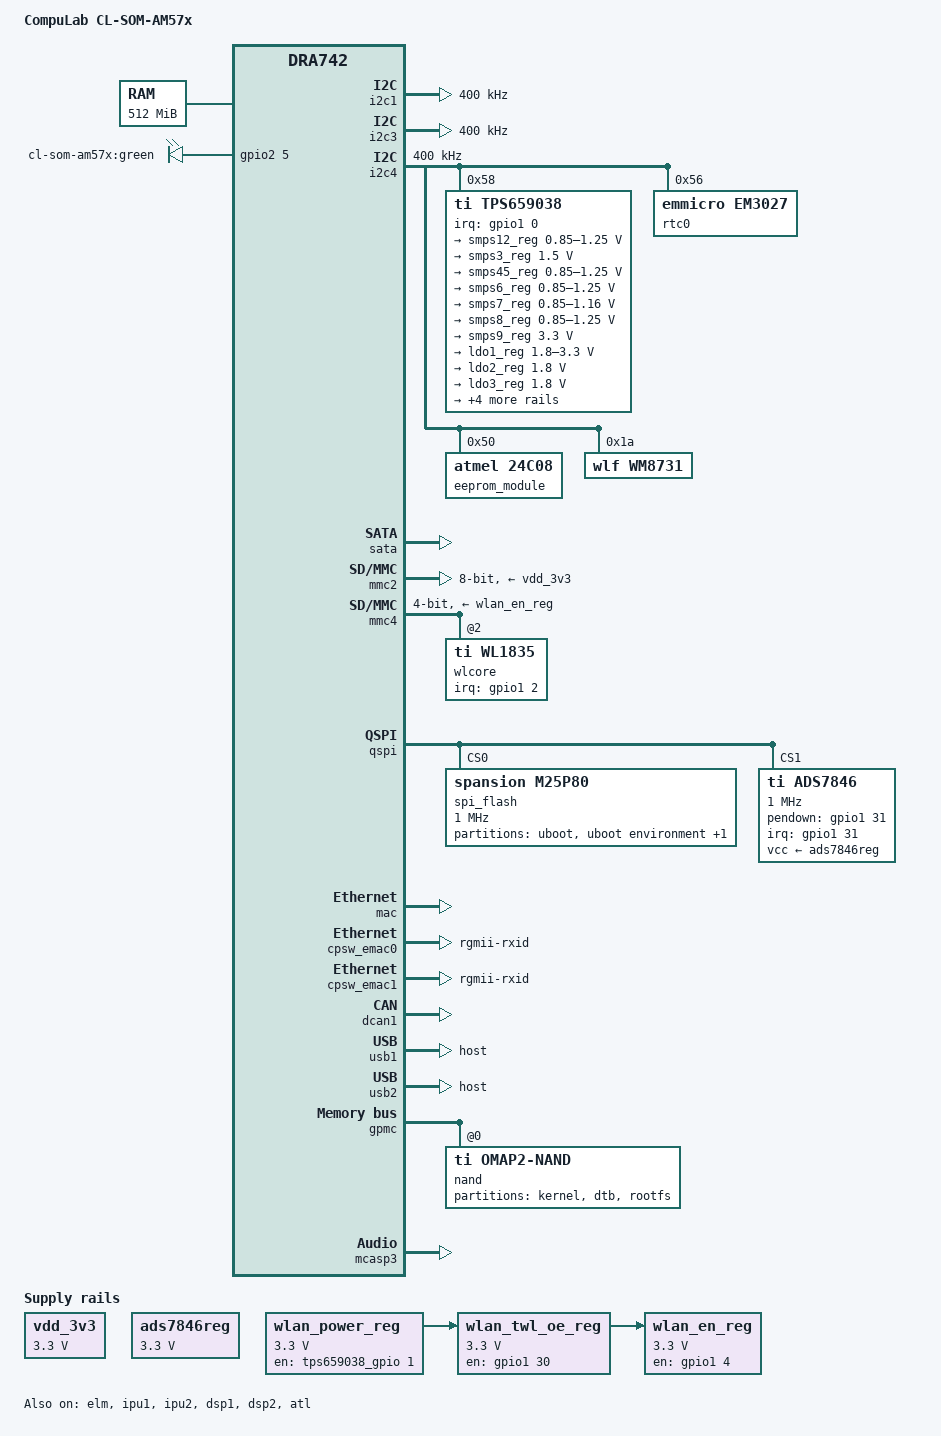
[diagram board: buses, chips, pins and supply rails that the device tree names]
/*
 * Support for CompuLab CL-SOM-AM57x System-on-Module
 *
 * Copyright (C) 2015 CompuLab Ltd. - http://www.compulab.co.il/
 * Author: Dmitry Lifshitz <lifshitz@compulab.co.il>
 *
 * This program is free software; you can redistribute it and/or modify it
 * under the terms of the GNU General Public License version 2 as published by
 * the Free Software Foundation.
 */

/dts-v1/;

#include <dt-bindings/gpio/gpio.h>
#include <dt-bindings/interrupt-controller/irq.h>
#include "dra74x.dtsi"
#include <dt-bindings/clk/ti-dra7-atl.h>

/ {
	model = "CompuLab CL-SOM-AM57x";
	compatible = "compulab,cl-som-am57x", "ti,am5728", "ti,dra742", "ti,dra74", "ti,dra7";

	memory {
		device_type = "memory";
		reg = <0x0 0x80000000 0x0 0x20000000>; /* 512 MB - minimal configuration */
	};

	reserved-memory {
		#address-cells = <2>;
		#size-cells = <2>;
		ranges;

		ipu1_cma_pool: ipu1_cma@9d000000 {
			compatible = "shared-dma-pool";
			reg = <0x0 0x9d000000 0x0 0x2000000>;
			reusable;
			status = "okay";
		};

		ipu2_cma_pool: ipu2_cma@95800000 {
			compatible = "shared-dma-pool";
			reg = <0x0 0x95800000 0x0 0x3800000>;
			reusable;
			status = "okay";
		};

		dsp1_cma_pool: dsp1_cma@99000000 {
			compatible = "shared-dma-pool";
			reg = <0x0 0x99000000 0x0 0x4000000>;
			reusable;
			status = "okay";
		};

		dsp2_cma_pool: dsp2_cma@9f000000 {
			compatible = "shared-dma-pool";
			reg = <0x0 0x9f000000 0x0 0x800000>;
			reusable;
			status = "okay";
		};

                cmem_block_mem_0: cmem_block_mem@a0000000 {
                        reg = <0x0 0xa0000000 0x0 0x0c000000>;
                        no-map;
                        status = "okay";
                };

		cmem_block_mem_1_ocmc3: cmem_block_mem@40500000 {
			reg = <0x0 0x40500000 0x0 0x100000>;
			no-map;
			status = "okay";
		};
	};

	leds {
		compatible = "gpio-leds";
		pinctrl-names = "default";
		pinctrl-0 = <&leds_pins_default>;

		led@0 {
			label = "cl-som-am57x:green";
			gpios = <&gpio2 5 GPIO_ACTIVE_HIGH>;
			linux,default-trigger = "heartbeat";
			default-state = "off";
		};
	};

        cmem {
                compatible = "ti,cmem";
                #address-cells = <1>;
                #size-cells = <0>;

		#pool-size-cells = <2>;

                status = "okay";

                cmem_block_0: cmem_block@0 {
                        reg = <0>;
                        memory-region = <&cmem_block_mem_0>;
                        cmem-buf-pools = <1 0x0 0x0c000000>;
                };

		cmem_block_1: cmem_block@1 {
			reg = <1>;
			memory-region = <&cmem_block_mem_1_ocmc3>;
		};
        };

	vdd_3v3: fixedregulator-vdd_3v3 {
		compatible = "regulator-fixed";
		regulator-name = "vdd_3v3";
		regulator-min-microvolt = <3300000>;
		regulator-max-microvolt = <3300000>;
	};

	ads7846reg: fixedregulator-ads7846-reg {
		compatible = "regulator-fixed";
		regulator-name = "ads7846-reg";
		regulator-min-microvolt = <3300000>;
		regulator-max-microvolt = <3300000>;
	};


        wlan_power_reg: regulatorfixed-wlan_power {
                compatible = "regulator-fixed";
                regulator-name = "wlan_power_fixed";
                regulator-min-microvolt = <3300000>;
                regulator-max-microvolt = <3300000>;
                gpio = <&tps659038_gpio 1 GPIO_ACTIVE_HIGH>;	/* gpio0 */
                enable-active-high;
        };

        wlan_twl_oe_reg: regulatorfixed-wlan_twl_oe {
                compatible = "regulator-fixed";
                regulator-name = "wlan_twl_oe_fixed";
                regulator-min-microvolt = <3300000>;
                regulator-max-microvolt = <3300000>;
		vin-supply = <&wlan_power_reg>;
                gpio = <&gpio1 30 GPIO_ACTIVE_HIGH>;	/* gpio1_30 */
                startup-delay-us = <1000>;
                enable-active-high;
        };

	wlan_en_reg: fixedregulator-wlan_en {
		compatible = "regulator-fixed";
		regulator-name = "wlan_en_fixed";
		regulator-min-microvolt = <3300000>;
		regulator-max-microvolt = <3300000>;
		vin-supply = <&wlan_twl_oe_reg>;
		gpio = <&gpio1 4 GPIO_ACTIVE_HIGH>;	/* gpio1_4 */
		startup-delay-us = <1000>;
		enable-active-high;
	};

	sound0: sound@0 {
		compatible = "simple-audio-card";
		simple-audio-card,name = "cl-som-amx57xx";
		simple-audio-card,widgets =
			"Headphone", "Headphone Jack",
			"Line", "Line Out",
			"Microphone", "Mic Jack",
			"Line", "Line In";
		simple-audio-card,routing =
			"Headphone Jack", "RHPOUT",
			"Headphone Jack", "LHPOUT",
			"LLINEIN", "Line Jack",
			"RLINEIN", "Line Jack",
			"MICIN", "Mic Bias",
			"Mic Bias", "Mic Jack";
		simple-audio-card,format = "i2s";
		simple-audio-card,bitclock-master = <&sound0_master>;
		simple-audio-card,frame-master = <&sound0_master>;
		simple-audio-card,bitclock-inversion;

		sound0_master: simple-audio-card,cpu {
			sound-dai = <&mcasp3>;
			system-clock-frequency = <18432000>;
			system-clock-direction = "out";
		};

		simple-audio-card,codec {
			sound-dai = <&wm8731>;
			system-clock-direction = "in";
		};
	};
};

&dra7_pmx_core {
	leds_pins_default: leds_pins_default {
		pinctrl-single,pins = <
			DRA7XX_CORE_IOPAD(0x347c, PIN_OUTPUT | MUX_MODE14)	/* gpmc_a15.gpio2_5 */
		>;
	};

	i2c1_pins_default: i2c1_pins_default {
		pinctrl-single,pins = <
			DRA7XX_CORE_IOPAD(0x3800, PIN_INPUT_PULLUP | MUX_MODE0)	/* i2c1_sda.sda */
			DRA7XX_CORE_IOPAD(0x3804, PIN_INPUT_PULLUP | MUX_MODE0)	/* i2c1_scl.scl */
		>;
	};

	i2c3_pins_default: i2c3_pins_default {
		pinctrl-single,pins = <
			DRA7XX_CORE_IOPAD(0x36a4, PIN_INPUT| MUX_MODE10)	/* mcasp1_aclkx.i2c3_sda */
			DRA7XX_CORE_IOPAD(0x36a8, PIN_INPUT| MUX_MODE10)	/* mcasp1_fsx.i2c3_scl */
		>;
	};

	i2c4_pins_default: i2c4_pins_default {
		pinctrl-single,pins = <
			DRA7XX_CORE_IOPAD(0x36ac, PIN_INPUT| MUX_MODE10)	/* mcasp1_acl.i2c4_sda */
			DRA7XX_CORE_IOPAD(0x36b0, PIN_INPUT| MUX_MODE10)	/* mcasp1_fsr.i2c4_scl */
		>;
	};

	tps659038_pins_default: tps659038_pins_default {
		pinctrl-single,pins = <
			DRA7XX_CORE_IOPAD(0x3818, PIN_INPUT_PULLUP | MUX_MODE14) /* wakeup0.gpio1_0 */
		>;
	};

	mmc2_pins_default: mmc2_pins_default {
		pinctrl-single,pins = <
			DRA7XX_CORE_IOPAD(0x349c, PIN_INPUT_PULLUP | MUX_MODE1) /* gpmc_a23.mmc2_clk */
			DRA7XX_CORE_IOPAD(0x34b0, PIN_INPUT_PULLUP | MUX_MODE1) /* gpmc_cs1.mmc2_cmd */
			DRA7XX_CORE_IOPAD(0x34a0, PIN_INPUT_PULLUP | MUX_MODE1) /* gpmc_a24.mmc2_dat0 */
			DRA7XX_CORE_IOPAD(0x34a4, PIN_INPUT_PULLUP | MUX_MODE1) /* gpmc_a25.mmc2_dat1 */
			DRA7XX_CORE_IOPAD(0x34a8, PIN_INPUT_PULLUP | MUX_MODE1) /* gpmc_a26.mmc2_dat2 */
			DRA7XX_CORE_IOPAD(0x34ac, PIN_INPUT_PULLUP | MUX_MODE1) /* gpmc_a27.mmc2_dat3 */
			DRA7XX_CORE_IOPAD(0x348c, PIN_INPUT_PULLUP | MUX_MODE1) /* gpmc_a19.mmc2_dat4 */
			DRA7XX_CORE_IOPAD(0x3490, PIN_INPUT_PULLUP | MUX_MODE1) /* gpmc_a20.mmc2_dat5 */
			DRA7XX_CORE_IOPAD(0x3494, PIN_INPUT_PULLUP | MUX_MODE1) /* gpmc_a21.mmc2_dat6 */
			DRA7XX_CORE_IOPAD(0x3498, PIN_INPUT_PULLUP | MUX_MODE1) /* gpmc_a22.mmc2_dat7 */
		>;
	};

	qspi1_pins: pinmux_qspi1_pins {
		pinctrl-single,pins = <
			DRA7XX_CORE_IOPAD(0x3474, PIN_INPUT | MUX_MODE1)	/* gpmc_a13.qspi1_rtclk */
			DRA7XX_CORE_IOPAD(0x3480, PIN_INPUT | MUX_MODE1)	/* gpmc_a16.qspi1_d0 */
			DRA7XX_CORE_IOPAD(0x3484, PIN_INPUT | MUX_MODE1)	/* gpmc_a17.qspi1_d1 */
			DRA7XX_CORE_IOPAD(0x3488, PIN_INPUT | MUX_MODE1)	/* qpmc_a18.qspi1_sclk */
			DRA7XX_CORE_IOPAD(0x34b8, PIN_INPUT_PULLUP | MUX_MODE1)	/* gpmc_cs2.qspi1_cs0 */
			DRA7XX_CORE_IOPAD(0x34bc, PIN_INPUT_PULLUP | MUX_MODE1)	/* gpmc_cs3.qspi1_cs1 */
		>;
	};

	cpsw_pins_default: cpsw_pins_default {
		pinctrl-single,pins = <
			/* Slave at addr 0x0 */
			DRA7XX_CORE_IOPAD(0x3650, PIN_OUTPUT | MUX_MODE0)	/* rgmii0_tclk */
			DRA7XX_CORE_IOPAD(0x3654, PIN_OUTPUT | MUX_MODE0)	/* rgmii0_tctl */
			DRA7XX_CORE_IOPAD(0x3658, PIN_OUTPUT | MUX_MODE0)	/* rgmii0_td3 */
			DRA7XX_CORE_IOPAD(0x365c, PIN_OUTPUT | MUX_MODE0)	/* rgmii0_td2 */
			DRA7XX_CORE_IOPAD(0x3660, PIN_OUTPUT | MUX_MODE0)	/* rgmii0_td1 */
			DRA7XX_CORE_IOPAD(0x3664, PIN_OUTPUT | MUX_MODE0)	/* rgmii0_td0 */
			DRA7XX_CORE_IOPAD(0x3668, PIN_INPUT_PULLDOWN | MUX_MODE0) /* rgmii0_rclk */
			DRA7XX_CORE_IOPAD(0x366c, PIN_INPUT_PULLDOWN | MUX_MODE0) /* rgmii0_rctl */
			DRA7XX_CORE_IOPAD(0x3670, PIN_INPUT_PULLDOWN | MUX_MODE0) /* rgmii0_rd3 */
			DRA7XX_CORE_IOPAD(0x3674, PIN_INPUT_PULLDOWN | MUX_MODE0) /* rgmii0_rd2 */
			DRA7XX_CORE_IOPAD(0x3678, PIN_INPUT_PULLDOWN | MUX_MODE0) /* rgmii0_rd1 */
			DRA7XX_CORE_IOPAD(0x367c, PIN_INPUT_PULLDOWN | MUX_MODE0) /* rgmii0_rd0 */

			/* Slave at addr 0x1 */
			DRA7XX_CORE_IOPAD(0x3598, PIN_OUTPUT | MUX_MODE3)	/* vin2a_d12.rgmii1_tclk */
			DRA7XX_CORE_IOPAD(0x359c, PIN_OUTPUT | MUX_MODE3)	/* vin2a_d13.rgmii1_tctl */
			DRA7XX_CORE_IOPAD(0x35a0, PIN_OUTPUT | MUX_MODE3)	/* vin2a_d14.rgmii1_td3 */
			DRA7XX_CORE_IOPAD(0x35a4, PIN_OUTPUT | MUX_MODE3)	/* vin2a_d15.rgmii1_td2 */
			DRA7XX_CORE_IOPAD(0x35a8, PIN_OUTPUT | MUX_MODE3)	/* vin2a_d16.rgmii1_td1 */
			DRA7XX_CORE_IOPAD(0x35ac, PIN_OUTPUT | MUX_MODE3)	/* vin2a_d17.rgmii1_td0 */
			DRA7XX_CORE_IOPAD(0x35b0, PIN_INPUT_PULLDOWN | MUX_MODE3) /* vin2a_d18.rgmii1_rclk */
			DRA7XX_CORE_IOPAD(0x35b4, PIN_INPUT_PULLDOWN | MUX_MODE3) /* vin2a_d19.rgmii1_rctl */
			DRA7XX_CORE_IOPAD(0x35b8, PIN_INPUT_PULLDOWN | MUX_MODE3) /* vin2a_d20.rgmii1_rd3 */
			DRA7XX_CORE_IOPAD(0x35bc, PIN_INPUT_PULLDOWN | MUX_MODE3) /* vin2a_d21.rgmii1_rd2 */
			DRA7XX_CORE_IOPAD(0x35c0, PIN_INPUT_PULLDOWN | MUX_MODE3) /* vin2a_d22.rgmii1_rd1 */
			DRA7XX_CORE_IOPAD(0x35c4, PIN_INPUT_PULLDOWN | MUX_MODE3) /* vin2a_d23.rgmii1_rd0 */
		>;
	};

	cpsw_pins_sleep: cpsw_pins_sleep {
		pinctrl-single,pins = <
			/* Slave 1 */
			DRA7XX_CORE_IOPAD(0x3650, PIN_INPUT | MUX_MODE15)
			DRA7XX_CORE_IOPAD(0x3654, PIN_INPUT | MUX_MODE15)
			DRA7XX_CORE_IOPAD(0x3658, PIN_INPUT | MUX_MODE15)
			DRA7XX_CORE_IOPAD(0x365c, PIN_INPUT | MUX_MODE15)
			DRA7XX_CORE_IOPAD(0x3660, PIN_INPUT | MUX_MODE15)
			DRA7XX_CORE_IOPAD(0x3664, PIN_INPUT | MUX_MODE15)
			DRA7XX_CORE_IOPAD(0x3668, PIN_INPUT | MUX_MODE15)
			DRA7XX_CORE_IOPAD(0x366c, PIN_INPUT | MUX_MODE15)
			DRA7XX_CORE_IOPAD(0x3670, PIN_INPUT | MUX_MODE15)
			DRA7XX_CORE_IOPAD(0x3674, PIN_INPUT | MUX_MODE15)
			DRA7XX_CORE_IOPAD(0x3678, PIN_INPUT | MUX_MODE15)
			DRA7XX_CORE_IOPAD(0x367c, PIN_INPUT | MUX_MODE15)

			/* Slave 2 */
			DRA7XX_CORE_IOPAD(0x3598, PIN_INPUT | MUX_MODE15)
			DRA7XX_CORE_IOPAD(0x359c, PIN_INPUT | MUX_MODE15)
			DRA7XX_CORE_IOPAD(0x35a0, PIN_INPUT | MUX_MODE15)
			DRA7XX_CORE_IOPAD(0x35a4, PIN_INPUT | MUX_MODE15)
			DRA7XX_CORE_IOPAD(0x35a8, PIN_INPUT | MUX_MODE15)
			DRA7XX_CORE_IOPAD(0x35ac, PIN_INPUT | MUX_MODE15)
			DRA7XX_CORE_IOPAD(0x35b0, PIN_INPUT | MUX_MODE15)
			DRA7XX_CORE_IOPAD(0x35b4, PIN_INPUT | MUX_MODE15)
			DRA7XX_CORE_IOPAD(0x35b8, PIN_INPUT | MUX_MODE15)
			DRA7XX_CORE_IOPAD(0x35bc, PIN_INPUT | MUX_MODE15)
			DRA7XX_CORE_IOPAD(0x35c0, PIN_INPUT | MUX_MODE15)
			DRA7XX_CORE_IOPAD(0x35c4, PIN_INPUT | MUX_MODE15)
		>;
	};

	davinci_mdio_pins_default: davinci_mdio_pins_default {
		pinctrl-single,pins = <
			/* MDIO */
			DRA7XX_CORE_IOPAD(0x3590, PIN_OUTPUT_PULLUP | MUX_MODE3)/* vin2a_d10.mdio_mclk */
			DRA7XX_CORE_IOPAD(0x3594, PIN_INPUT_PULLUP | MUX_MODE3)	/* vin2a_d11.mdio_d */
		>;
	};

	davinci_mdio_pins_sleep: davinci_mdio_pins_sleep {
		pinctrl-single,pins = <
			DRA7XX_CORE_IOPAD(0x3590, PIN_INPUT | MUX_MODE15)
			DRA7XX_CORE_IOPAD(0x3594, PIN_INPUT | MUX_MODE15)
		>;
	};

	ads7846_pins: pinmux_ads7846_pins {
		pinctrl-single,pins = <
			DRA7XX_CORE_IOPAD(0x3464, PIN_INPUT_PULLDOWN | MUX_MODE14) /* gpmc_a9.gpio1_31 */
		>;
	};

	dcan1_pins_default: dcan1_pins_default {
		pinctrl-single,pins = <
			DRA7XX_CORE_IOPAD(0x37d0, PIN_OUTPUT | MUX_MODE0)		/* dcan1_tx */
			DRA7XX_CORE_IOPAD(0x37d4, PIN_INPUT_PULLUP | MUX_MODE0)		/* dcan1_rx */
		>;
	};

	dcan1_pins_sleep: dcan1_pins_sleep {
		pinctrl-single,pins = <
			DRA7XX_CORE_IOPAD(0x37d0, MUX_MODE15 | PULL_UP)
			DRA7XX_CORE_IOPAD(0x37d4, MUX_MODE15 | PULL_UP)
		>;
	};

	nand_flash_pins: nand_flash_pins {
		pinctrl-single,pins = <
			DRA7XX_CORE_IOPAD(0x3400, PIN_INPUT | MUX_MODE0) 		/* gpmc_ad0 */
			DRA7XX_CORE_IOPAD(0x3404, PIN_INPUT | MUX_MODE0) 		/* gpmc_ad1 */
			DRA7XX_CORE_IOPAD(0x3408, PIN_INPUT | MUX_MODE0) 		/* gpmc_ad2 */
			DRA7XX_CORE_IOPAD(0x340C, PIN_INPUT | MUX_MODE0) 		/* gpmc_ad3 */
			DRA7XX_CORE_IOPAD(0x3410, PIN_INPUT | MUX_MODE0) 		/* gpmc_ad4 */
			DRA7XX_CORE_IOPAD(0x3414, PIN_INPUT | MUX_MODE0) 		/* gpmc_ad5 */
			DRA7XX_CORE_IOPAD(0x3418, PIN_INPUT | MUX_MODE0) 		/* gpmc_ad6 */
			DRA7XX_CORE_IOPAD(0x341C, PIN_INPUT | MUX_MODE0) 		/* gpmc_ad7 */
			DRA7XX_CORE_IOPAD(0x34D8, PIN_INPUT_PULLUP  | MUX_MODE0)	/* gpmc_wait0 */
			DRA7XX_CORE_IOPAD(0x34B4, PIN_OUTPUT_PULLUP | MUX_MODE0)	/* gpmc_cs0 */
			DRA7XX_CORE_IOPAD(0x34CC, PIN_OUTPUT_PULLDOWN | MUX_MODE0)	/* gpmc_wen */
			DRA7XX_CORE_IOPAD(0x34C8, PIN_OUTPUT_PULLDOWN | MUX_MODE0)	/* gpmc_oen_ren */
			DRA7XX_CORE_IOPAD(0x34C4, PIN_OUTPUT_PULLDOWN | MUX_MODE0)	/* gpmc_advn_ale */
			DRA7XX_CORE_IOPAD(0x34D0, PIN_OUTPUT_PULLDOWN | MUX_MODE0)	/* gpmc_ben0 */
		>;
	};

	mmc4_pins_default: pinmux_mmc4_pins_default {
		pinctrl-single,pins = <
			DRA7XX_CORE_IOPAD(0x37E8, PIN_INPUT_PULLUP | MUX_MODE3)		/* uart1_ctsn.mmc4_clk */
			DRA7XX_CORE_IOPAD(0x37EC, PIN_INPUT_PULLUP | MUX_MODE3)		/* uart1_rtsn.mmc4_cmd */
			DRA7XX_CORE_IOPAD(0x37F0, PIN_INPUT_PULLUP | MUX_MODE3)		/* uart2_rxd.mmc4_dat0 */
			DRA7XX_CORE_IOPAD(0x37F4, PIN_INPUT_PULLUP | MUX_MODE3)		/* uart2_txd.mmc4_dat1 */
			DRA7XX_CORE_IOPAD(0x37F8, PIN_INPUT_PULLUP | MUX_MODE3)		/* uart2_ctsn.mmc4_dat2 */
			DRA7XX_CORE_IOPAD(0x37FC, PIN_INPUT_PULLUP | MUX_MODE3)		/* uart2_rtsn.mmc4_dat3 */
		>;
	};

	uart10_pins_default: pinmux_uart10_pins_default {
		pinctrl-single,pins = <
			DRA7XX_CORE_IOPAD(0x3570, PIN_INPUT_PULLUP | MUX_MODE8)		/* vin2a_d2.uart10_rxd */
			DRA7XX_CORE_IOPAD(0x3574, PIN_OUTPUT_PULLDOWN | MUX_MODE8)	/* vin2a_d3.uart10_txd */
			DRA7XX_CORE_IOPAD(0x3578, PIN_INPUT | MUX_MODE8)		/* vin2a_d4.uart10_ctsn */
			DRA7XX_CORE_IOPAD(0x357C, PIN_OUTPUT_PULLDOWN | MUX_MODE8)	/* vin2a_d5.uart10_rtsn */
		>;
	};

	wlan_pins_default: pinmux_wlan_pins_default {
		pinctrl-single,pins = <
			DRA7XX_CORE_IOPAD(0x3460, PIN_OUTPUT_PULLDOWN | MUX_MODE14)	/* gpmc_a8.gpio1_30 - TWL OE */
			DRA7XX_CORE_IOPAD(0x3714, PIN_OUTPUT_PULLDOWN | MUX_MODE14)	/* mcasp2_axr4.gpio1_4 - WLAN EN */
			DRA7XX_CORE_IOPAD(0x3820, PIN_INPUT | MUX_MODE14)		/* Wakeup2.gpio1_2 - WLAN IRQ */
		>;
	};

	mcasp3_pins_default: mcasp3_pins_default {
		pinctrl-single,pins = <
			DRA7XX_CORE_IOPAD(0x369c, PIN_OUTPUT_PULLDOWN  | MUX_MODE3)  /* xref_clk2.mcasp3_ahclkx */
			DRA7XX_CORE_IOPAD(0x3724, PIN_INPUT_PULLDOWN | MUX_MODE0) /* mcasp3_aclkx.mcasp3_aclkx */
			DRA7XX_CORE_IOPAD(0x3728, PIN_INPUT_PULLDOWN | MUX_MODE0) /* mcasp3_fsx.mcasp3_fsx */
			DRA7XX_CORE_IOPAD(0x372c, PIN_OUTPUT_PULLDOWN | MUX_MODE0) /* mcasp3_axr0.mcasp3_axr0 */
			DRA7XX_CORE_IOPAD(0x3730, PIN_INPUT_PULLDOWN | MUX_MODE0) /* mcasp3_axr1.mcasp3_axr1 */
		>;
	};

	mcasp3_pins_sleep: mcasp3_pins_sleep {
		pinctrl-single,pins = <
			DRA7XX_CORE_IOPAD(0x369c, PIN_INPUT | MUX_MODE15)
			DRA7XX_CORE_IOPAD(0x3724, PIN_INPUT | MUX_MODE15)
			DRA7XX_CORE_IOPAD(0x3728, PIN_INPUT | MUX_MODE15)
			DRA7XX_CORE_IOPAD(0x372c, PIN_INPUT | MUX_MODE15)
			DRA7XX_CORE_IOPAD(0x3730, PIN_INPUT | MUX_MODE15)
		>;
	};
};

&i2c1 {
	status = "okay";
	pinctrl-names = "default";
	pinctrl-0 = <&i2c1_pins_default>;
	clock-frequency = <400000>;
};

&i2c3 {
	status = "okay";
	pinctrl-names = "default";
	pinctrl-0 = <&i2c3_pins_default>;
	clock-frequency = <400000>;
};

&i2c4 {
	status = "okay";
	pinctrl-names = "default";
	pinctrl-0 = <&i2c4_pins_default>;
	clock-frequency = <400000>;

	tps659038: tps659038@58 {
		compatible = "ti,tps659038";
		reg = <0x58>;
		interrupt-parent = <&gpio1>;
		interrupts = <0 IRQ_TYPE_LEVEL_LOW>;

		pinctrl-names = "default";
		pinctrl-0 = <&tps659038_pins_default>;

		#interrupt-cells = <2>;
		interrupt-controller;

		ti,system-power-controller;

		tps659038_pmic {
			compatible = "ti,tps659038-pmic";

			regulators {
				smps12_reg: smps12 {
					/* VDD_MPU */
					regulator-name = "smps12";
					regulator-min-microvolt = < 850000>;
					regulator-max-microvolt = <1250000>;
					regulator-always-on;
					regulator-boot-on;
				};

				smps3_reg: smps3 {
					/* VDD_DDR */
					regulator-name = "smps3";
					regulator-min-microvolt = <1500000>;
					regulator-max-microvolt = <1500000>;
					regulator-always-on;
					regulator-boot-on;
				};

				smps45_reg: smps45 {
					/* VDD_DSPEVE */
					regulator-name = "smps45";
					regulator-min-microvolt = < 850000>;
					regulator-max-microvolt = <1250000>;
					regulator-always-on;
					regulator-boot-on;
				};

				smps6_reg: smps6 {
					/* VDD_GPU */
					regulator-name = "smps6";
					regulator-min-microvolt = < 850000>;
					regulator-max-microvolt = <1250000>;
					regulator-always-on;
					regulator-boot-on;
				};

				smps7_reg: smps7 {
					/* VDD_CORE */
					regulator-name = "smps7";
					regulator-min-microvolt = < 850000>;
					regulator-max-microvolt = <1160000>;
					regulator-always-on;
					regulator-boot-on;
				};

				smps8_reg: smps8 {
					/* VDD_IVA */
					regulator-name = "smps8";
					regulator-min-microvolt = < 850000>;
					regulator-max-microvolt = <1250000>;
					regulator-always-on;
					regulator-boot-on;
				};

				smps9_reg: smps9 {
					/* PMIC_3V3 */
					regulator-name = "smps9";
					regulator-min-microvolt = <3300000>;
					regulator-max-microvolt = <3300000>;
					regulator-always-on;
					regulator-boot-on;
				};


				ldo1_reg: ldo1 {
					/* VDD_SD / VDDSHV8  */
					regulator-name = "ldo1";
					regulator-min-microvolt = <1800000>;
					regulator-max-microvolt = <3300000>;
					regulator-boot-on;
					regulator-always-on;
				};

				ldo2_reg: ldo2 {
					/* VDD_1V8 */
					regulator-name = "ldo2";
					regulator-min-microvolt = <1800000>;
					regulator-max-microvolt = <1800000>;
					regulator-always-on;
					regulator-boot-on;
				};

				ldo3_reg: ldo3 {
					/* VDDA_1V8_PHYA - supplies VDDA_SATA, VDDA_USB1/2/3 */
					regulator-name = "ldo3";
					regulator-min-microvolt = <1800000>;
					regulator-max-microvolt = <1800000>;
					regulator-always-on;
					regulator-boot-on;
				};

				ldo4_reg: ldo4 {
					/* VDDA_1V8_PHYB - supplies VDDA_HDMI, VDDA_PCIE/0/1 */
					regulator-name = "ldo4";
					regulator-min-microvolt = <1800000>;
					regulator-max-microvolt = <1800000>;
					regulator-always-on;
					regulator-boot-on;
				};

				ldo9_reg: ldo9 {
					/* VDD_RTC */
					regulator-name = "ldo9";
					regulator-min-microvolt = <1050000>;
					regulator-max-microvolt = <1050000>;
					regulator-always-on;
					regulator-boot-on;
				};

				ldoln_reg: ldoln {
					/* VDDA_1V8_PLL */
					regulator-name = "ldoln";
					regulator-min-microvolt = <1800000>;
					regulator-max-microvolt = <1800000>;
					regulator-always-on;
					regulator-boot-on;
				};

				ldousb_reg: ldousb {
					/* VDDA_3V_USB: VDDA_USBHS33 */
					regulator-name = "ldousb";
					regulator-min-microvolt = <3300000>;
					regulator-max-microvolt = <3300000>;
					regulator-always-on;
					regulator-boot-on;
				};

				/* regen1 not used */
			};
		};

		tps659038_pwr_button: tps659038_pwr_button {
			compatible = "ti,palmas-pwrbutton";
			interrupt-parent = <&tps659038>;
			interrupts = <1 IRQ_TYPE_EDGE_FALLING>;
			wakeup-source;
			ti,palmas-long-press-seconds = <12>;
		};

		tps659038_gpio: tps659038_gpio {
			compatible = "ti,palmas-gpio";
			gpio-controller;
			#gpio-cells = <2>;
		};
	};

	rtc0: rtc@56 {
		compatible = "emmicro,em3027";
		reg = <0x56>;
	};

	eeprom_module: atmel@50 {
		compatible = "atmel,24c08";
		reg = <0x50>;
		pagesize = <16>;
	};

	wm8731: wm8731@1a {
		#sound-dai-cells = <0>;
		compatible = "wlf,wm8731";
		reg = <0x1a>;
		status = "okay";
	};
};

&cpu0 {
	cpu0-supply = <&smps12_reg>;
	voltage-tolerance = <1>;
};

&sata {
	status = "okay";
};

&mailbox5 {
	status = "okay";
	mbox_ipu1_ipc3x: mbox_ipu1_ipc3x {
		status = "okay";
	};
	mbox_dsp1_ipc3x: mbox_dsp1_ipc3x {
		status = "okay";
	};
};

&mailbox6 {
	status = "okay";
	mbox_ipu2_ipc3x: mbox_ipu2_ipc3x {
		status = "okay";
	};
	mbox_dsp2_ipc3x: mbox_dsp2_ipc3x {
		status = "okay";
	};
};

&mmc2 {
	status = "okay";

	pinctrl-names = "default";
	pinctrl-0 = <&mmc2_pins_default>;

	vmmc-supply = <&vdd_3v3>;
	bus-width = <8>;
	ti,non-removable;
	cap-mmc-dual-data-rate;
};

&mmc4 {
	status = "okay";

	pinctrl-names = "default";
	pinctrl-0 = <
			&mmc4_pins_default
			&wlan_pins_default
			&uart10_pins_default
	>;

	vmmc-supply = <&wlan_en_reg>;
	bus-width = <4>;

	ti,non-removable;
	cap-power-off-card;
	keep-power-in-suspend;

	#address-cells = <1>;
	#size-cells = <0>;
	wlcore: wlcore@0 {
		compatible = "ti,wl1835";
		reg = <2>;
		interrupt-parent = <&gpio1>;
		interrupts = <2 IRQ_TYPE_EDGE_RISING>; 
	};
};

&qspi {
	status = "okay";
	pinctrl-names = "default";
	pinctrl-0 = <&qspi1_pins>;

	spi-max-frequency = <1000000>;

	spi_flash: spi_flash@0 {
		#address-cells = <1>;
		#size-cells = <1>;
		compatible = "spansion,m25p80", "jedec,spi-nor";
		reg = <0>;				/* CS0 */
		spi-max-frequency = <1000000>;

		partition@0 {
			label = "uboot";
			reg = <0x0 0xc0000>;
		};

		partition@c0000 {
			label = "uboot environment";
			reg = <0xc0000 0x40000>;
		};

		partition@100000 {
			label = "reserved";
			reg = <0x100000 0x0>;
		};
	};

	/* touch controller */
	ads7846@1 {
		pinctrl-names = "default";
		pinctrl-0 = <&ads7846_pins>;

		compatible = "ti,ads7846";
		vcc-supply = <&ads7846reg>;

		reg = <1>;                              /* CS1 */
		spi-max-frequency = <1000000>;

		interrupt-parent = <&gpio1>;
		interrupts = <31 0>;
		pendown-gpio = <&gpio1 31 0>;


		ti,x-min = /bits/ 16 <0x0>;
		ti,x-max = /bits/ 16 <0x0fff>;
		ti,y-min = /bits/ 16 <0x0>;
		ti,y-max = /bits/ 16 <0x0fff>;

		ti,x-plate-ohms = /bits/ 16 <180>;
		ti,pressure-max = /bits/ 16 <255>;

		ti,debounce-max = /bits/ 16 <30>;
		ti,debounce-tol = /bits/ 16 <10>;
		ti,debounce-rep = /bits/ 16 <1>;

		linux,wakeup;
	};
};

&mac {
	status = "okay";
	pinctrl-names = "default", "sleep";
	pinctrl-0 = <&cpsw_pins_default>;
	pinctrl-1 = <&cpsw_pins_sleep>;
	dual_emac;
};

&cpsw_emac0 {
	phy_id = <&davinci_mdio>, <0>;
	phy-mode = "rgmii-rxid";
	dual_emac_res_vlan = <0>;
};

&cpsw_emac1 {
	phy_id = <&davinci_mdio>, <1>;
	phy-mode = "rgmii-rxid";
	dual_emac_res_vlan = <1>;
};

&davinci_mdio {
	pinctrl-names = "default", "sleep";
	pinctrl-0 = <&davinci_mdio_pins_default>;
	pinctrl-1 = <&davinci_mdio_pins_sleep>;
};

&dcan1 {
	status = "okay";
	pinctrl-names = "default", "sleep", "active";
	pinctrl-0 = <&dcan1_pins_sleep>;
	pinctrl-1 = <&dcan1_pins_sleep>;
	pinctrl-2 = <&dcan1_pins_default>;
};

&usb2_phy1 {
	phy-supply = <&ldousb_reg>;
};

&usb2_phy2 {
	phy-supply = <&ldousb_reg>;
};

&usb1 {
	dr_mode = "host";
};

&usb2 {
	dr_mode = "host";
};

&gpio3 {
	status = "okay";
	ti,no-reset-on-init;
};

&gpio2 {
	status = "okay";
	ti,no-reset-on-init;
};

&gpio4 {
        status = "okay";
        ti,no-reset-on-init;
};

&elm {
	status = "okay";
};

&gpmc {
	status = "okay";
	pinctrl-names = "default";
	pinctrl-0 = <&nand_flash_pins>;
	ranges = <0 0 0x08000000 0x1000000>;
	nand@0,0 {
		/* To use NAND - GPIO4_1 (NAND chip nWP) is toggled HIGH in U-Boot */
		compatible = "ti,omap2-nand";
		reg = <0 0 4>;
		ti,nand-ecc-opt = "bch8";
		ti,elm-id = <&elm>;

		nand-bus-width = <8>;
		gpmc,device-width = <1>;
		gpmc,sync-clk-ps = <0>;
		gpmc,cs-on-ns = <0>;
		gpmc,cs-rd-off-ns = <44>;
		gpmc,cs-wr-off-ns = <44>;
		gpmc,adv-on-ns = <6>;
		gpmc,adv-rd-off-ns = <34>;
		gpmc,adv-wr-off-ns = <44>;
		gpmc,we-on-ns = <0>;
		gpmc,we-off-ns = <40>;
		gpmc,oe-on-ns = <0>;
		gpmc,oe-off-ns = <54>;
		gpmc,access-ns = <64>;
		gpmc,rd-cycle-ns = <82>;
		gpmc,wr-cycle-ns = <82>;
		gpmc,wait-on-read = "true";
		gpmc,wait-on-write = "true";
		gpmc,bus-turnaround-ns = <0>;
		gpmc,cycle2cycle-delay-ns = <0>;
		gpmc,clk-activation-ns = <0>;
		gpmc,wait-monitoring-ns = <0>;
		gpmc,wr-access-ns = <40>;
		gpmc,wr-data-mux-bus-ns = <0>;

		#address-cells = <1>;
		#size-cells = <1>;
		/* MTD partition table */
		partition@0 {
			label = "kernel";
			reg = <0x00000000 0x00980000>;
		};
		partition@980000 {
			label = "dtb";
			reg = <0x00980000 0x00080000>;
		};
		partition@a00000 {
			label = "rootfs";
			reg = <0x00a00000 0>;
		};
	};
};

&mmu0_dsp1 {
	status = "okay";
};

&mmu1_dsp1 {
	status = "okay";
};

&mmu0_dsp2 {
	status = "okay";
};

&mmu1_dsp2 {
	status = "okay";
};

&mmu_ipu1 {
	status = "okay";
};

&mmu_ipu2 {
	status = "okay";
};

&ipu1 {
	status = "okay";
	memory-region = <&ipu1_cma_pool>;
	mboxes = <&mailbox5 &mbox_ipu1_ipc3x>;
	timers = <&timer11>;
};

&ipu2 {
	status = "okay";
	memory-region = <&ipu2_cma_pool>;
	mboxes = <&mailbox6 &mbox_ipu2_ipc3x>;
	timers = <&timer3>;
	watchdog-timers = <&timer4>, <&timer9>;
};

&dsp1 {
	status = "okay";
	memory-region = <&dsp1_cma_pool>;
	mboxes = <&mailbox5 &mbox_dsp1_ipc3x>;
	timers = <&timer5>;
};

&dsp2 {
	status = "okay";
	memory-region = <&dsp2_cma_pool>;
	mboxes = <&mailbox6 &mbox_dsp2_ipc3x>;
	timers = <&timer6>;
};

&atl {
	status = "okay";

	assigned-clocks = <&abe_dpll_sys_clk_mux>,
			  <&atl_gfclk_mux>,
			  <&dpll_abe_ck>,
			  <&dpll_abe_m2x2_ck>,
			  <&atl_clkin2_ck>;
	assigned-clock-parents = <&sys_clkin1>, <&dpll_abe_m2_ck>;
	assigned-clock-rates = <0>, <0>, <36864000>;

	atl2 {
		bws = <DRA7_ATL_WS_MCASP2_FSX>;
		aws = <DRA7_ATL_WS_MCASP3_FSX>;
	};
};

&mcasp3 {
	#sound-dai-cells = <0>;
	pinctrl-names = "default", "sleep";
	pinctrl-0 = <&mcasp3_pins_default>;
	pinctrl-1 = <&mcasp3_pins_sleep>;
	status = "okay";
	fck_parent = "atl_clkin2_ck";

	op-mode = <0>;          /* MCASP_IIS_MODE */
	tdm-slots = <2>;
	serial-dir = <
		1 2 0 0
	>;
};
